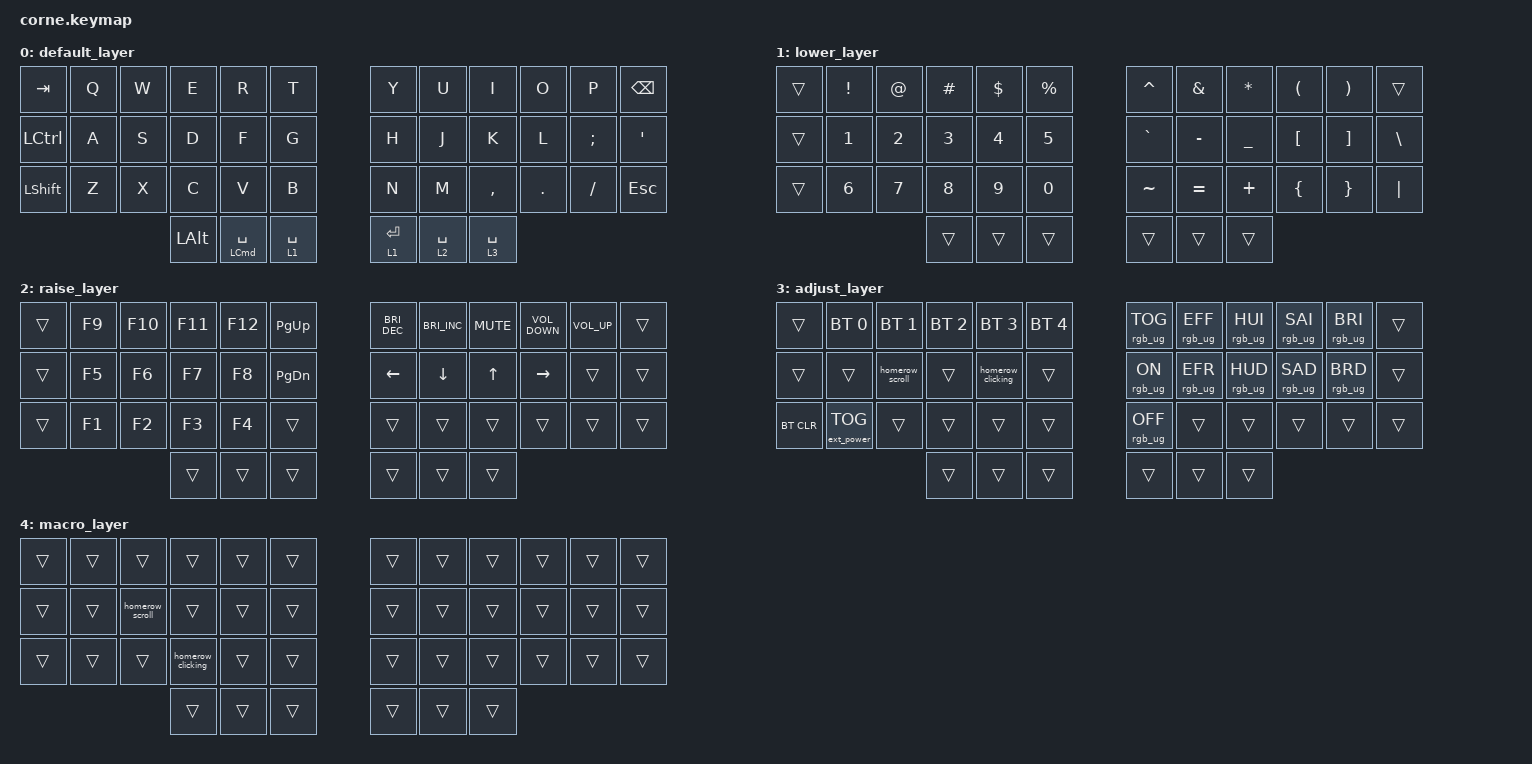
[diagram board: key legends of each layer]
/*
 * Copyright (c) 2020 The ZMK Contributors
 *
 * SPDX-License-Identifier: MIT
 */

#include <behaviors.dtsi>
#include <dt-bindings/zmk/bt.h>
#include <dt-bindings/zmk/ext_power.h>
#include <dt-bindings/zmk/keys.h>
#include <dt-bindings/zmk/rgb.h>

&led_strip { chain-length = <27>; };

/ {
    behaviors {
        lt_hp: layer_tap_hold_preferred {
            compatible = "zmk,behavior-hold-tap";
            #binding-cells = <2>;
            tapping-term-ms = <200>;
            require-prior-idle-ms = <125>;
            flavor = "balanced";
            retro-tap;
            bindings = <&mo>, <&kp>;
        };
    };

    combos {
        compatible = "zmk,combos";

        esc {
            bindings = <&kp ESCAPE>;
            key-positions = <1 2>;
        };

        enter {
            bindings = <&kp ENTER>;
            key-positions = <21 22>;
        };

        backspace {
            bindings = <&kp BACKSPACE>;
            key-positions = <9 10>;
        };
    };

    macros {
        homerow_clicking: homerow_clicking {
            compatible = "zmk,behavior-macro";
            #binding-cells = <0>;
            bindings =
                <&macro_press>,
                <&kp LEFT_ALT &kp LEFT_COMMAND>,
                <&macro_tap>,
                <&kp C>,
                <&macro_pause_for_release>,
                <&macro_release>,
                <&kp LEFT_ALT &kp LEFT_COMMAND>;
        };

        homerow_scroll: homerow_scroll {
            compatible = "zmk,behavior-macro";
            #binding-cells = <0>;
            bindings =
                <&macro_press>,
                <&kp LEFT_ALT &kp LEFT_COMMAND>,
                <&macro_tap>,
                <&kp S>,
                <&macro_pause_for_release>,
                <&macro_release>,
                <&kp LEFT_ALT &kp LEFT_COMMAND>;
        };
    };

    keymap {
        compatible = "zmk,keymap";

        default_layer {
            // -----------------------------------------------------------------------------------------
            // |  TAB |  Q  |  W  |  E  |  R  |  T  |   |  Y  |  U   |  I  |  O  |  P  | BSPC |
            // | CTRL |  A  |  S  |  D  |  F  |  G  |   |  H  |  J   |  K  |  L  |  ;  |  '   |
            // | SHFT |  Z  |  X  |  C  |  V  |  B  |   |  N  |  M   |  ,  |  .  |  /  | ESC  |
            //                    | GUI | LWR | SPC |   | ENT | RSE  | ALT |

            bindings = <
&kp TAB    &kp Q  &kp W  &kp E     &kp R                   &kp T             &kp Y           &kp U           &kp I           &kp O    &kp P     &kp BSPC
&kp LCTRL  &kp A  &kp S  &kp D     &kp F                   &kp G             &kp H           &kp J           &kp K           &kp L    &kp SEMI  &kp SQT
&kp LSHFT  &kp Z  &kp X  &kp C     &kp V                   &kp B             &kp N           &kp M           &kp COMMA       &kp DOT  &kp FSLH  &kp ESCAPE
                         &kp LALT  &mt LEFT_COMMAND SPACE  &lt_hp 1 SPACE    &lt_hp 1 ENTER  &lt_hp 2 SPACE  &lt_hp 3 SPACE
            >;
        };

        lower_layer {
            // -----------------------------------------------------------------------------------------
            // |  TAB |  !  |  @  |  #  |  $  |  %  |   |  ^  |  &  |  *  |  (  |  )  | BSPC |
            // | CTRL |     |     |     |     |     |   |  -  |  =  |  [  |  ]  |  \  |  `   |
            // | SHFT |     |     |     |     |     |   |  _  |  +  |  {  |  }  | "|" |  ~   |
            //                    | GUI |     | SPC |   | ENT |     | ALT |

            bindings = <
&trans  &kp EXCL  &kp AT  &kp HASH  &kp DLLR  &kp PRCNT    &kp CARET  &kp AMPS   &kp ASTRK       &kp LPAR          &kp RPAR           &trans
&trans  &kp N1    &kp N2  &kp N3    &kp N4    &kp N5       &kp GRAVE  &kp MINUS  &kp UNDERSCORE  &kp LEFT_BRACKET  &kp RIGHT_BRACKET  &kp BACKSLASH
&trans  &kp N6    &kp N7  &kp N8    &kp N9    &kp N0       &kp TILDE  &kp EQUAL  &kp PLUS        &kp LEFT_BRACE    &kp RIGHT_BRACE    &kp PIPE
                          &trans    &trans    &trans       &trans     &trans     &trans
            >;
        };

        raise_layer {
            bindings = <
&trans  &kp F9  &kp F10  &kp F11  &kp F12  &kp PAGE_UP      &kp C_BRIGHTNESS_DEC  &kp C_BRIGHTNESS_INC  &kp C_MUTE  &kp C_VOLUME_DOWN  &kp C_VOLUME_UP  &trans
&trans  &kp F5  &kp F6   &kp F7   &kp F8   &kp PAGE_DOWN    &kp LEFT              &kp DOWN              &kp UP      &kp RIGHT          &trans           &trans
&trans  &kp F1  &kp F2   &kp F3   &kp F4   &trans           &trans                &trans                &trans      &trans             &trans           &trans
                         &trans   &trans   &trans           &trans                &trans                &trans
            >;
        };

        adjust_layer {
            // Bluetooth and RGB control layer
            // Row 1: BT Clear, BT profiles 0-4, RGB Toggle, RGB Effect+, RGB Hue+, RGB Sat+, RGB Bright+
            // Row 2: RGB On, RGB Effect-, RGB Hue-, RGB Sat-, RGB Bright-
            // Row 3: External Power On/Off/Toggle

            bindings = <
&trans      &bt BT_SEL 0       &bt BT_SEL 1     &bt BT_SEL 2  &bt BT_SEL 3       &bt BT_SEL 4    &rgb_ug RGB_TOG  &rgb_ug RGB_EFF  &rgb_ug RGB_HUI  &rgb_ug RGB_SAI  &rgb_ug RGB_BRI  &trans
&trans      &trans             &homerow_scroll  &trans        &homerow_clicking  &trans          &rgb_ug RGB_ON   &rgb_ug RGB_EFR  &rgb_ug RGB_HUD  &rgb_ug RGB_SAD  &rgb_ug RGB_BRD  &trans
&bt BT_CLR  &ext_power EP_TOG  &trans           &trans        &trans             &trans          &rgb_ug RGB_OFF  &trans           &trans           &trans           &trans           &trans
                                                &trans        &trans             &trans          &trans           &trans           &trans
            >;
        };

        macro_layer {
            bindings = <
&trans  &trans  &trans           &trans             &trans  &trans    &trans  &trans  &trans  &trans  &trans  &trans
&trans  &trans  &homerow_scroll  &trans             &trans  &trans    &trans  &trans  &trans  &trans  &trans  &trans
&trans  &trans  &trans           &homerow_clicking  &trans  &trans    &trans  &trans  &trans  &trans  &trans  &trans
                                 &trans             &trans  &trans    &trans  &trans  &trans
            >;
        };
    };

    conditional_layers {
        compatible = "zmk,conditional-layers";

        select_macro {
            if-layers = <1 2>;
            then-layer = <4>;
        };
    };
};
